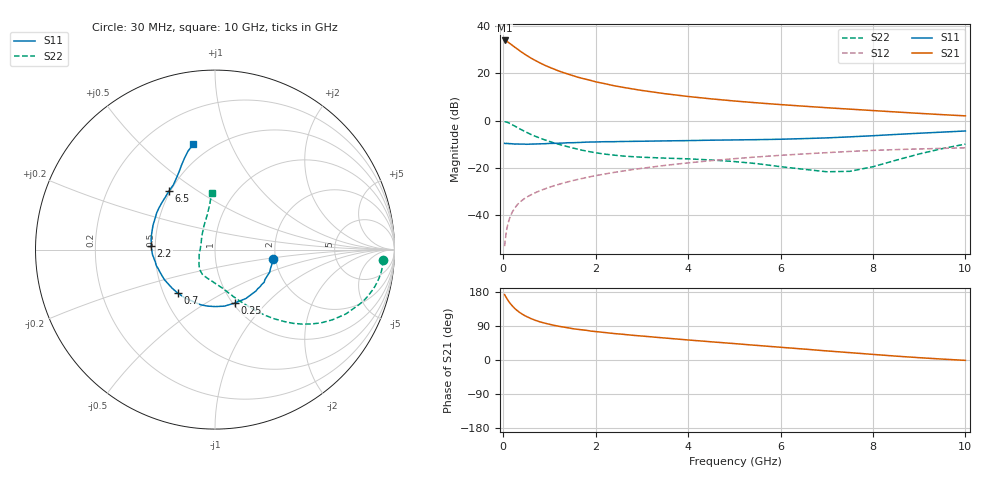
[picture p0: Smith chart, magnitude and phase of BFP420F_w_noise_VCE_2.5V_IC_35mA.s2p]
! Infineon Technologies  Discrete & RF Semiconductors
! BFP420F
! VCE =  2.5 V,  IC =  35 mA
! Common Emitter S-Parameters:  Sep 2011
# GHz  S  MA  R  50
!  f  S11  S21  S12  S22
! GHz  MAG  ANG  MAG  ANG  MAG  ANG  MAG  ANG
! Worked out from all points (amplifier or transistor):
!   54 points, 30 MHz to 10 GHz, reference 50 ohm
!   highest |S21| = 33.9 dB at 30 MHz (marker M1)
!   |S21| within 3 dB of that: start of sweep to 260.8 MHz
!   unconditionally stable (mu >= 1): 1.418 GHz to end of sweep
!   at 120 MHz: K = 0.36, MSG = 37.7 dB, |S12| = -42.5 dB
!   at 1.3 GHz: K = 0.98, MSG = 23.4 dB, |S12| = -26.4 dB
!   at 10 GHz: K = 1.22, MAG = 3.9 dB, |S12| = -11.5 dB
!   lowest NFmin = 1.93 dB at 450 MHz
!   S11 on the Smith chart (normalised r, x): 30 MHz: 1.94, -0.23; 250 MHz: 1.02, -0.68; 700 MHz: 0.59, -0.32; 2.2 GHz: 0.47, +0.02; 6.5 GHz: 0.49, +0.39; 10 GHz: 0.40, +0.74
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0.03  0.3288 -9.3  49.43 172.6  0.0022 94.6  0.9373 -3.5
0.07  0.3298 -22.4  47.72 164.0  0.0046 86.3  0.9272 -10.0
0.1  0.3247 -31.1  45.92 157.9  0.0064 81.5  0.906 -14.4
0.12  0.325 -36.7  44.48 154.2  0.0075 79.8  0.8891 -17.1
0.15  0.3244 -45.2  42.21 149.4  0.0092 78.4  0.8611 -20.7
0.2  0.3223 -57.8  38.84 142.3  0.0118 75.6  0.8125 -26.2
0.25  0.3173 -69.8  35.59 136.0  0.014 73.3  0.7629 -30.8
0.35  0.3175 -89.5  30.27 126.0  0.0184 70.0  0.6737 -38.0
0.45  0.3177 -104.4  25.95 118.2  0.022 68.1  0.5993 -43.3
0.6  0.3173 -121.9  20.93 109.3  0.0268 66.7  0.5081 -49.4
0.7  0.3191 -130.9  18.52 104.6  0.0299 66.4  0.4628 -52.5
0.9  0.3234 -144.1  14.76 97.2  0.0358 66.1  0.3899 -57.7
1.1  0.3292 -154.1  12.25 91.5  0.0417 65.9  0.336 -62.3
1.3  0.3341 -161.6  10.35 87.0  0.0476 65.7  0.2961 -66.5
1.7  0.3454 -173.1  7.851 79.7  0.0593 64.9  0.2365 -75.2
2.2  0.3566 176.9  6.014 72.5  0.074 63.5  0.1949 -86.7
3.5  0.371 158.6  3.696 58.0  0.1124 57.4  0.1604 -110.1
5.5  0.3943 139.0  2.365 38.4  0.1701 45.0  0.1222 -137.0
6.5  0.4147 128.2  2.012 28.9  0.1965 38.2  0.0931 -161.7
7  0.4293 122.6  1.867 24.0  0.2092 34.8  0.0825 179.4
8.5  0.5083 111.4  1.518 10.2  0.2428 23.8  0.1449 115.3
10  0.6014 101.5  1.256 -1.0  0.2649 14.4  0.3172 93.3
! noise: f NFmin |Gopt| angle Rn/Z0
0.45  1.93  0.32  -175  0.1
0.9  1.94  0.34  -172  0.13
1.9  2.07  0.39  -162  0.12
2.4  2.14  0.38  -155  0.13
3.5  2.39  0.37  -143  0.19
